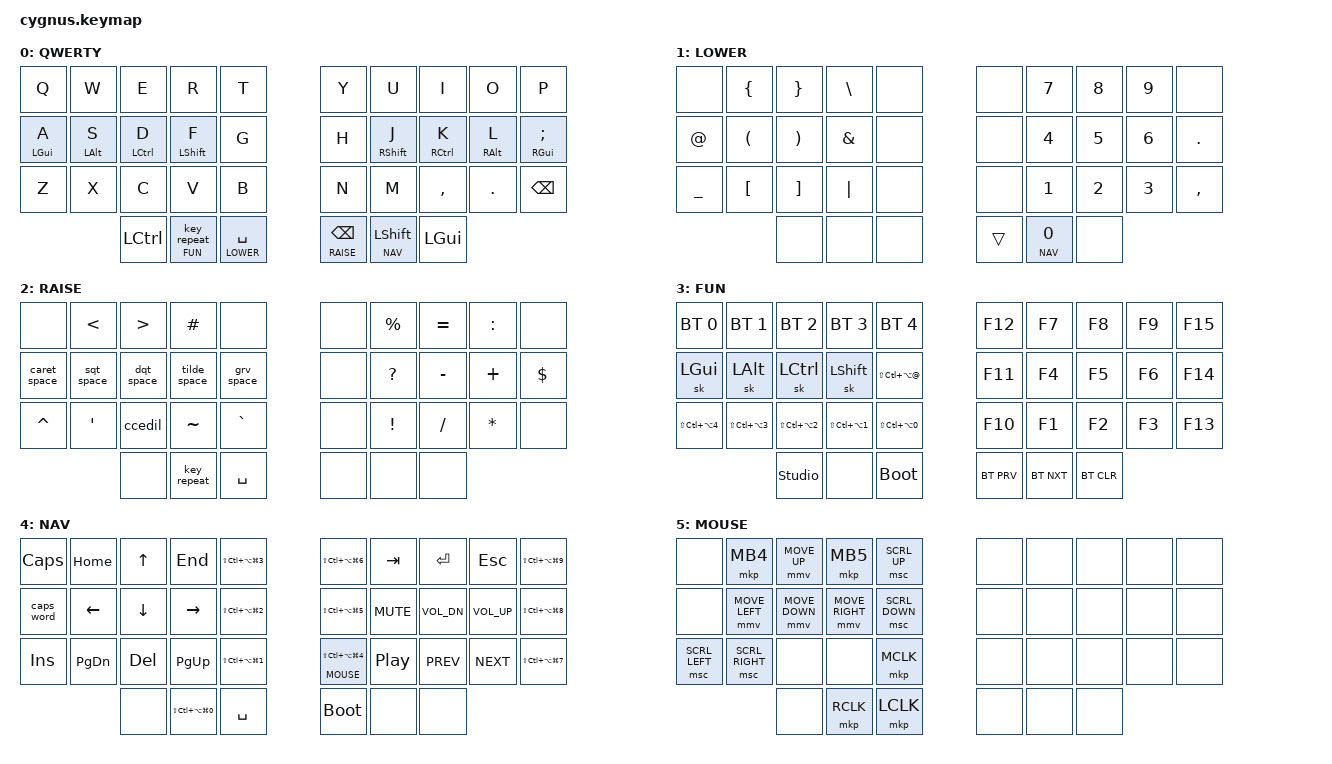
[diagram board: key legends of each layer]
/*
*
* Copyright (c) 2024 Rafael Romão
* SPDX-License-Identifier: MIT
*
*/

#include <behaviors.dtsi>
#include <dt-bindings/zmk/keys.h>
#include <dt-bindings/zmk/bt.h>
#define ZMK_POINTING_DEFAULT_MOVE_VAL 1500  // default: 600
#include <dt-bindings/zmk/pointing.h>

#define QWERTY 0
#define LOWER 1
#define RAISE 2
#define FUN 3
#define NAV 4
#define MOUSE 5

/ {
    behaviors {
        hm: homerow_mods {
            compatible = "zmk,behavior-hold-tap";
            #binding-cells = <2>;
            tapping-term-ms = <200>; 
            flavor = "tap-preferred";
            bindings = <&kp>, <&kp>;
        };

        mk: mk {
            compatible = "zmk,behavior-hold-tap";
            #binding-cells = <2>;
            tapping-term-ms = <200>; 
            flavor = "tap-preferred";
            bindings = <&mo>, <&sk>;
        };

        ht_repeat: ht_repeat {
            compatible = "zmk,behavior-hold-tap";
            #binding-cells = <2>;
            tapping-term-ms = <225>; 
            flavor = "tap-preferred";
            bindings = <&mo>, <&key_repeat>;
        };

        sqt_space: sqt_space {
            compatible = "zmk,behavior-macro";
            #binding-cells = <0>;
            bindings = <&macro_tap &kp SQT &kp SPACE>;
        };

        dqt_space: dqt_space {
            compatible = "zmk,behavior-macro";
            #binding-cells = <0>;
            bindings = <&macro_tap &kp DQT &kp SPACE>;
        };

        grv_space: grv_space {
            compatible = "zmk,behavior-macro";
            #binding-cells = <0>;
            bindings = <&macro_tap &kp GRAVE &kp SPACE>;
        };

        tilde_space: tilde_space {
            compatible = "zmk,behavior-macro";
            #binding-cells = <0>;
            bindings = <&macro_tap &kp TILDE &kp SPACE>;
        };

        caret_space: caret_space {
            compatible = "zmk,behavior-macro";
            #binding-cells = <0>;
            bindings = <&macro_tap &kp CARET &kp SPACE>;
        };

        ccedil: ccedil {
            compatible = "zmk,behavior-macro";
            #binding-cells = <0>;
            bindings = <&macro_tap &kp SQT &kp C>;
        };
    };

    keymap {
        compatible = "zmk,keymap";

                qwerty_layer {
                     display-name = "QWERTY";
                     bindings = <
   &kp Q               &kp W               &kp E               &kp R               &kp T               &kp Y               &kp U               &kp I               &kp O               &kp P
   &mt LGUI A          &mt LALT S          &mt LCTRL D         &mt LSHFT F         &kp G               &kp H               &mt RSHFT J         &mt RCTRL K         &mt RALT L          &mt RGUI SEMI
   &kp Z               &kp X               &kp C               &kp V               &kp B               &kp N               &kp M               &kp COMMA           &kp DOT             &kp BACKSPACE
                                           &kp LCTRL         &ht_repeat FUN 0    &lt LOWER SPACE     &lt RAISE BACKSPACE &mk NAV LSHFT       &kp LGUI
                        >;
                };
                lower_layer {
                     display-name = "LOWER";
                     bindings = <
   &none               &kp LBRC            &kp RBRC            &kp BSLH            &none               &none               &kp N7              &kp N8              &kp N9              &none
   &kp AT              &kp LPAR            &kp RPAR            &kp AMPS            &none               &none               &kp N4              &kp N5              &kp N6              &kp DOT  
   &kp UNDERSCORE      &kp LBKT            &kp RBKT            &kp PIPE            &none               &none               &kp N1              &kp N2              &kp N3              &kp COMMA
                                           &none               &none               &none               &trans              &lt NAV N0          &none 
                           >;
                };
                raise_layer {
                    display-name = "RAISE";
                    bindings = <
   &none               &kp LT              &kp GT              &kp HASH            &none               &none               &kp PERCENT         &kp EQUAL         &kp COLON             &none
   &caret_space        &sqt_space          &dqt_space          &tilde_space        &grv_space          &none               &kp QUESTION        &kp MINUS         &kp PLUS              &kp DOLLAR
   &kp CARET           &kp SQT             &ccedil             &kp TILDE           &kp GRAVE           &none               &kp EXCL            &kp SLASH         &kp STAR              &none          
                                           &none               &key_repeat         &kp SPACE           &none               &none               &none        
                          >;
               };
                functions_layer {
                     display-name = "FUN";
                     bindings = <
   &bt BT_SEL 0  &bt BT_SEL 1  &bt BT_SEL 2  &bt BT_SEL 3  &bt BT_SEL 4  &kp F12             &kp F7              &kp F8              &kp F9              &kp F15 
   &sk LGUI            &sk LALT            &sk LCTRL           &sk LSHFT           &kp LS(LC(LA(AT)))  &kp F11             &kp F4              &kp F5              &kp F6              &kp F14      
   &kp LS(LC(LA(N4)))  &kp LS(LC(LA(N3)))  &kp LS(LC(LA(N2)))  &kp LS(LC(LA(N1)))  &kp LS(LC(LA(N0)))  &kp F10             &kp F1              &kp F2              &kp F3              &kp F13
                                           &studio_unlock      &none               &bootloader         &bt BT_PRV          &bt BT_NXT          &bt BT_CLR
                        >;
                };
                navigation_layer {
                    display-name = "NAV";
                    bindings = <
   &kp CAPSLOCK        &kp HOME            &kp UP              &kp END             &kp LS(LC(LA(LG(N3)))) &kp LS(LC(LA(LG(N6)))) &kp TAB             &kp ENTER           &kp ESC             &kp LS(LC(LA(LG(N9)))) 
   &caps_word          &kp LEFT            &kp DOWN            &kp RIGHT           &kp LS(LC(LA(LG(N2)))) &kp LS(LC(LA(LG(N5)))) &kp C_MUTE          &kp C_VOL_DN        &kp C_VOL_UP        &kp LS(LC(LA(LG(N8)))) 
   &kp INS             &kp PG_DN           &kp DEL             &kp PG_UP           &kp LS(LC(LA(LG(N1)))) &lt MOUSE LS(LC(LA(LG(N4)))) &kp C_PP            &kp C_PREV          &kp C_NEXT          &kp LS(LC(LA(LG(N7)))) 
                                           &none               &kp LS(LC(LA(LG(N0)))) &kp SPACE           &bootloader            &none               &none
                           >;
                };
                navigation_mouse_layer {
                    display-name = "MOUSE";
                    bindings = <
   &none        &mkp MB4            &mmv MOVE_UP        &mkp MB5            &msc SCRL_UP &none  &none   &none   &none   &none  
   &none        &mmv MOVE_LEFT      &mmv MOVE_DOWN      &mmv MOVE_RIGHT     &msc SCRL_DOWN &none  &none   &none   &none   &none     
   &msc SCRL_LEFT        &msc SCRL_RIGHT           &none           &none           &mkp MCLK &none  &none   &none   &none   &none    
                                           &none               &mkp RCLK           &mkp LCLK              &none            &none               &none
                           >;
                };

                layer6 {
                    status = "reserved";
                };

                layer7 {
                    status = "reserved";
                };

                layer8 {
                    status = "reserved";
                };

                layer9 {
                    status = "reserved";
                };

                layer10 {
                    status = "reserved";
                };
    };
};
